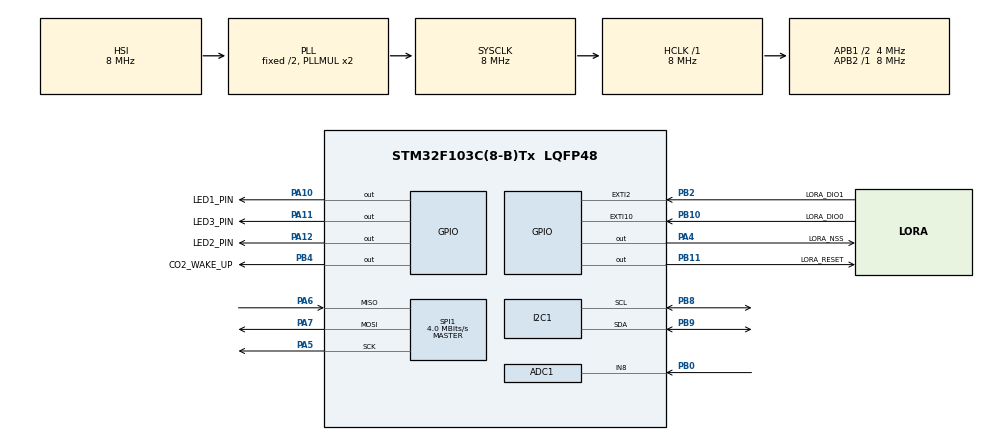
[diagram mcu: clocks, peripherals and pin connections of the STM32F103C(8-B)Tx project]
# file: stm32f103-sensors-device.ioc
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ADC1.Channel-4\#ChannelRegularConversion=ADC_CHANNEL_8
ADC1.NbrOfConversionFlag=1
ADC1.Rank-4\#ChannelRegularConversion=1
ADC1.SamplingTime-4\#ChannelRegularConversion=ADC_SAMPLETIME_55CYCLES_5
ADC1.master=1
I2C1.I2C_Mode=I2C_Standard
Mcu.Family=STM32F1
Mcu.Name=STM32F103C(8-B)Tx
Mcu.Package=LQFP48
NVIC.EXTI15_10_IRQn=true\:0\:0\:false\:false\:true\:true\:true
NVIC.EXTI2_IRQn=true\:0\:0\:false\:false\:true\:true\:true
NVIC.I2C1_ER_IRQn=true\:0\:0\:false\:false\:true\:true\:true
NVIC.I2C1_EV_IRQn=true\:0\:0\:false\:false\:true\:true\:true
NVIC.PriorityGroup=NVIC_PRIORITYGROUP_4
NVIC.SPI1_IRQn=true\:0\:0\:false\:false\:true\:true\:true
NVIC.TIM4_IRQn=true\:0\:0\:false\:false\:true\:true\:true
PA10.GPIO_Label=LED1_PIN
PA10.Signal=GPIO_Output
PA11.GPIO_Label=LED3_PIN
PA11.Signal=GPIO_Output
PA12.GPIO_Label=LED2_PIN
PA12.Signal=GPIO_Output
PA13.Mode=Serial_Wire
PA13.Signal=SYS_JTMS-SWDIO
PA14.Mode=Serial_Wire
PA14.Signal=SYS_JTCK-SWCLK
PA4.GPIO_Label=LORA_NSS
PA4.Signal=GPIO_Output
PA5.Mode=Full_Duplex_Master
PA5.Signal=SPI1_SCK
PA6.Mode=Full_Duplex_Master
PA6.Signal=SPI1_MISO
PA7.Mode=Full_Duplex_Master
PA7.Signal=SPI1_MOSI
PB0.Signal=ADCx_IN8
PB10.GPIO_Label=LORA_DIO0
PB10.GPIO_PuPd=GPIO_PULLDOWN
PB10.Signal=GPXTI10
PB11.GPIO_Label=LORA_RESET
PB11.Signal=GPIO_Output
PB2.GPIO_Label=LORA_DIO1
PB2.GPIO_PuPd=GPIO_PULLDOWN
PB2.Signal=GPXTI2
PB4.GPIO_Label=CO2_WAKE_UP
PB4.Signal=GPIO_Output
PB8.Mode=I2C
PB8.Signal=I2C1_SCL
PB9.Mode=I2C
PB9.Signal=I2C1_SDA
ProjectManager.HeapSize=0x200
ProjectManager.StackSize=0x400
ProjectManager.TargetToolchain=STM32CubeIDE
RCC.AHBFreq_Value=8000000
RCC.APB1CLKDivider=RCC_HCLK_DIV2
RCC.APB1Freq_Value=4000000
RCC.APB1TimFreq_Value=8000000
RCC.APB2Freq_Value=8000000
RCC.APB2TimFreq_Value=8000000
RCC.HCLKFreq_Value=8000000
RCC.SYSCLKFreq_VALUE=8000000
RCC.SYSCLKSource=RCC_SYSCLKSOURCE_PLLCLK
RCC.USBFreq_Value=8000000
SH.ADCx_IN8.0=ADC1_IN8,IN8
SPI1.BaudRatePrescaler=SPI_BAUDRATEPRESCALER_2
SPI1.CalculateBaudRate=4.0 MBits/s
SPI1.Direction=SPI_DIRECTION_2LINES
SPI1.Mode=SPI_MODE_MASTER
SPI1.VirtualType=VM_MASTER
TIM2.Prescaler=72
TIM4.Period=49999
TIM4.Prescaler=7999
VP_TIM2_VS_ClockSourceINT.Mode=Internal
VP_TIM4_VS_ClockSourceINT.Mode=Internal
VP_TIM4_VS_OPM.Mode=OPM_bit
board=custom

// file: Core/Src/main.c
/* USER CODE BEGIN Header */
/**
  ******************************************************************************
  * @file           : main.c
  * @brief          : Main program body
  ******************************************************************************
  * @attention
  *
  * <h2><center>&copy; Copyright (c) 2020 STMicroelectronics.
  * All rights reserved.</center></h2>
  *
  * This software component is licensed by ST under BSD 3-Clause license,
  * the "License"; You may not use this file except in compliance with the
  * License. You may obtain a copy of the License at:
  *                        opensource.org/licenses/BSD-3-Clause
  *
  ******************************************************************************
  */
/* USER CODE END Header */
#include "main.h"

/* USER CODE BEGIN Includes */
#include <stdlib.h>
#include <string.h>
#include <Sensor_TSL2561.h>
#include <stdbool.h>
#include <math.h>
#include "Sensor_CCS811.h"
#include <bme280.h>
#include "../LoRa_main_cpp/LoRa_main_file.h"
#include <FlashPROM.h>
//#include <LoRa_contact_data.h>
/* USER CODE END Includes */

/* USER CODE BEGIN PD */
#define BAND	43325E4
//#define BAND	43455E4

//#define _TSL2561
#define _BME280
//#define	_CCS811
//#define _WATER_TEMP
/* USER CODE END PD */

ADC_HandleTypeDef hadc1;

I2C_HandleTypeDef hi2c1;

SPI_HandleTypeDef hspi1;

TIM_HandleTypeDef htim2;
TIM_HandleTypeDef htim4;

/* USER CODE BEGIN PV */

												// TSL2561
uint8_t STADY_CONACT_NUMBER = 0;

SensorsDataTypeDef sensors_data;

uint8_t LoRa_begin_result;

// If gain = false (0), device is set to low gain (1X)
// If gain = high (1), device is set to high gain (16X)
// If time = 0, integration will be 13.7ms
// If time = 1, integration will be 101ms
// If time = 2, integration will be 402ms
// If time = 3, use manual start / stop (ms = 0)
// ms will be set to integration time
bool gain = 0;
unsigned  int ms = 0;
int8_t user_i2c_write(uint8_t id, uint8_t reg_addr, uint8_t *data, uint16_t len);
int8_t user_i2c_read(uint8_t id, uint8_t reg_addr, uint8_t *data, uint16_t len);
void user_delay_ms(uint32_t period);
												// TSL2561
struct bme280_dev dev = {.dev_id = BME280_I2C_ADDR_SEC, .intf = BME280_I2C_INTF, .read = user_i2c_read, .write = user_i2c_write, .delay_ms = user_delay_ms};
struct bme280_offset offset = {.humidity_offset = 5.0, .pressure_offset = 0.0, .temperature_offset = 0.0 };
struct bme280_data comp_data;

uint8_t tim4 = 0;

int8_t rslt;

uint16_t exti5_10, exti2;
uint16_t cnt_task_1, cnt_task_2, cnt_task_3;

uint16_t water_temp = 0;

volatile bool end_contact = false;

uint32_t control_module_id_and_channel[BUFFSIZE] = {0x00000000, 0x00000000};

//buf32_t control_module_id;
/* USER CODE END PV */

void SystemClock_Config(void);
static void MX_GPIO_Init(void);
static void MX_I2C1_Init(void);
static void MX_SPI1_Init(void);
static void MX_TIM2_Init(void);
static void MX_ADC1_Init(void);
static void MX_TIM4_Init(void);
/* USER CODE BEGIN PFP */
void LoRa_sleep();
void SensorsGetValues();
void Main_cpp(SensorsDataTypeDef* sensors_data);
void Contact_group_control_module();
bool Init_lora_module(SPI_HandleTypeDef *spi);
void Send_registration_packet();
void Get_control_module_info_from_main(uint32_t* id_main);
uint8_t LoRa_begin(uint64_t frequency, bool paboost, uint8_t signal_power, uint8_t SF, uint64_t SBW, uint8_t sync_word);
uint8_t Begin_lora_module(uint64_t frequency, bool paboost, uint8_t signal_power, uint8_t SF, uint64_t SBW, uint8_t sync_word);
/* USER CODE END PFP */

/* USER CODE BEGIN 0 */
int8_t user_i2c_read(uint8_t id, uint8_t reg_addr, uint8_t *data, uint16_t len)
{
  if(HAL_I2C_Master_Transmit(&hi2c1, (id << 1), &reg_addr, 1, 10) != HAL_OK) return -1;
  if(HAL_I2C_Master_Receive(&hi2c1, (id << 1) | 0x01, data, len, 10) != HAL_OK) return -1;
  return 0;
}

void user_delay_ms(uint32_t period)
{
  HAL_Delay(period);
}

int8_t user_i2c_write(uint8_t id, uint8_t reg_addr, uint8_t *data, uint16_t len)
{
  int8_t *buf;
  buf = malloc(len +1);
  buf[0] = reg_addr;
  memcpy(buf +1, data, len);
  if(HAL_I2C_Master_Transmit(&hi2c1, (id << 1), (uint8_t*)buf, len + 1, HAL_MAX_DELAY) != HAL_OK) return -1;
  free(buf);
  return 0;
}

void HAL_TIM_PeriodElapsedCallback(TIM_HandleTypeDef *htim)
{
	if(htim->Instance == TIM4) //check if the interrupt comes from TIM1
	{
		//HAL_ResumeTick();
		//HAL_GPIO_TogglePin(LED1_PIN_GPIO_Port, LED1_PIN_Pin);
		tim4++;
		// if end_contact
//			SensorsGetValues();
//			Main_cpp(&sensors_data);
			// wake up
		//HAL_Delay(2000);

	}
}
/* USER CODE END 0 */

int main(void)
{
  /* USER CODE BEGIN 1 */

  Read_control_module_info_from_flash(control_module_id_and_channel);
  Get_control_module_info_from_main(control_module_id_and_channel);
  /* USER CODE END 1 */

  /* MCU Configuration--------------------------------------------------------*/

  /* Reset of all peripherals, Initializes the Flash interface and the Systick. */
  HAL_Init();

  /* Configure the system clock */
  SystemClock_Config();

  /* Initialize all configured peripherals */
  MX_GPIO_Init();
  MX_I2C1_Init();
  MX_SPI1_Init();
  MX_TIM2_Init();
  MX_ADC1_Init();
  MX_TIM4_Init();
  /* USER CODE BEGIN 2 */
  Init_lora_module(&hspi1);
  LoRa_begin_result = Begin_lora_module(BAND, true, 14, 8, 250E3, 0x4A);
  //LoRa_begin_result = LoRa_begin(BAND, true, 14, 11, 125E3, 0x4A)
  if(LoRa_begin_result == 0) {
	  for (int i = 0; i < 5; ++i) {
		  HAL_GPIO_TogglePin(LED1_PIN_GPIO_Port, LED1_PIN_Pin);
		  HAL_GPIO_TogglePin(LED2_PIN_GPIO_Port, LED2_PIN_Pin);
		  HAL_GPIO_TogglePin(LED3_PIN_GPIO_Port, LED3_PIN_Pin);
		  HAL_Delay(500);
	  }
	  while(LoRa_begin_result != 0) {
		  LoRa_begin_result = Begin_lora_module(BAND, true, 14, 8, 250E3, 0x4A);
			  HAL_GPIO_WritePin(LED1_PIN_GPIO_Port, LED1_PIN_Pin, GPIO_PIN_SET);
			  HAL_GPIO_WritePin(LED2_PIN_GPIO_Port, LED2_PIN_Pin, GPIO_PIN_RESET);
			  HAL_GPIO_WritePin(LED3_PIN_GPIO_Port, LED3_PIN_Pin, GPIO_PIN_RESET);
	  }
  }
  HAL_GPIO_WritePin(LED1_PIN_GPIO_Port, LED1_PIN_Pin, GPIO_PIN_RESET);
  HAL_GPIO_WritePin(LED2_PIN_GPIO_Port, LED2_PIN_Pin, GPIO_PIN_RESET);
  HAL_GPIO_WritePin(LED3_PIN_GPIO_Port, LED3_PIN_Pin, GPIO_PIN_RESET);
#ifdef _TSL2561
  unsigned  char time = 2;
  TSL2561_setTiming_ms (gain, time, & ms);
  TSL2561_setPowerUp ();
#endif

#ifdef _BME280
  rslt = bme280_init(&dev);

  dev.settings.osr_h = BME280_OVERSAMPLING_1X;
  dev.settings.osr_p = BME280_OVERSAMPLING_16X;
  dev.settings.osr_t = BME280_OVERSAMPLING_2X;
  dev.settings.filter = BME280_FILTER_COEFF_16;
  rslt = bme280_set_sensor_settings(BME280_OSR_PRESS_SEL | BME280_OSR_TEMP_SEL | BME280_OSR_HUM_SEL | BME280_FILTER_SEL, &dev);
  rslt = bme280_set_sensor_mode(BME280_NORMAL_MODE, &dev);
  //bme280_compensate_data(BME280_OSR_HUM_SEL, uncomp_data, comp_data, calib_data)
#endif

#ifdef _CCS811
  configureCCS811();
#endif
  HAL_ADCEx_Calibration_Start(&hadc1);
  HAL_Delay(1000);
  //HAL_TIM_Base_Start_IT(&htim4);
  //HAL_PWR_EnableSleepOnExit();
  //end_contact = true;
  SensorsGetValues();
  Main_cpp(&sensors_data);
  /* USER CODE END 2 */

  /* Infinite loop */
  while (1)
  {

    /* USER CODE BEGIN 3 */

	if (end_contact) {
		end_contact = false;
		HAL_Delay(100);
		HAL_TIM_Base_Start_IT(&htim4);
		HAL_Delay(100);
		LoRa_sleep();
		HAL_SuspendTick();
		HAL_PWR_EnterSLEEPMode(PWR_LOWPOWERREGULATOR_ON, PWR_SLEEPENTRY_WFI);
		HAL_ResumeTick();
		HAL_TIM_Base_Stop_IT(&htim4);
		SensorsGetValues();
		Main_cpp(&sensors_data);
	}
  }
  /* USER CODE END 3 */
}

void SystemClock_Config(void)
{
  RCC_OscInitTypeDef RCC_OscInitStruct = {0};
  RCC_ClkInitTypeDef RCC_ClkInitStruct = {0};
  RCC_PeriphCLKInitTypeDef PeriphClkInit = {0};

  /** Initializes the RCC Oscillators according to the specified parameters
  * in the RCC_OscInitTypeDef structure.
  */
  RCC_OscInitStruct.OscillatorType = RCC_OSCILLATORTYPE_HSI;
  RCC_OscInitStruct.HSIState = RCC_HSI_ON;
  RCC_OscInitStruct.HSICalibrationValue = RCC_HSICALIBRATION_DEFAULT;
  RCC_OscInitStruct.PLL.PLLState = RCC_PLL_ON;
  RCC_OscInitStruct.PLL.PLLSource = RCC_PLLSOURCE_HSI_DIV2;
  RCC_OscInitStruct.PLL.PLLMUL = RCC_PLL_MUL2;
  if (HAL_RCC_OscConfig(&RCC_OscInitStruct) != HAL_OK)
  {
    Error_Handler();
  }
  /** Initializes the CPU, AHB and APB buses clocks
  */
  RCC_ClkInitStruct.ClockType = RCC_CLOCKTYPE_HCLK|RCC_CLOCKTYPE_SYSCLK
                              |RCC_CLOCKTYPE_PCLK1|RCC_CLOCKTYPE_PCLK2;
  RCC_ClkInitStruct.SYSCLKSource = RCC_SYSCLKSOURCE_PLLCLK;
  RCC_ClkInitStruct.AHBCLKDivider = RCC_SYSCLK_DIV1;
  RCC_ClkInitStruct.APB1CLKDivider = RCC_HCLK_DIV2;
  RCC_ClkInitStruct.APB2CLKDivider = RCC_HCLK_DIV1;

  if (HAL_RCC_ClockConfig(&RCC_ClkInitStruct, FLASH_LATENCY_0) != HAL_OK)
  {
    Error_Handler();
  }
  PeriphClkInit.PeriphClockSelection = RCC_PERIPHCLK_ADC;
  PeriphClkInit.AdcClockSelection = RCC_ADCPCLK2_DIV2;
  if (HAL_RCCEx_PeriphCLKConfig(&PeriphClkInit) != HAL_OK)
  {
    Error_Handler();
  }
}

static void MX_ADC1_Init(void)
{

  ADC_ChannelConfTypeDef sConfig = {0};

  /** Common config
  */
  hadc1.Instance = ADC1;
  hadc1.Init.ScanConvMode = ADC_SCAN_DISABLE;
  hadc1.Init.ContinuousConvMode = DISABLE;
  hadc1.Init.DiscontinuousConvMode = DISABLE;
  hadc1.Init.ExternalTrigConv = ADC_SOFTWARE_START;
  hadc1.Init.DataAlign = ADC_DATAALIGN_RIGHT;
  hadc1.Init.NbrOfConversion = 1;
  if (HAL_ADC_Init(&hadc1) != HAL_OK)
  {
    Error_Handler();
  }
  /** Configure Regular Channel
  */
  sConfig.Channel = ADC_CHANNEL_8;
  sConfig.Rank = ADC_REGULAR_RANK_1;
  sConfig.SamplingTime = ADC_SAMPLETIME_55CYCLES_5;
  if (HAL_ADC_ConfigChannel(&hadc1, &sConfig) != HAL_OK)
  {
    Error_Handler();
  }

}

static void MX_I2C1_Init(void)
{

  hi2c1.Instance = I2C1;
  hi2c1.Init.ClockSpeed = 100000;
  hi2c1.Init.DutyCycle = I2C_DUTYCYCLE_2;
  hi2c1.Init.OwnAddress1 = 0;
  hi2c1.Init.AddressingMode = I2C_ADDRESSINGMODE_7BIT;
  hi2c1.Init.DualAddressMode = I2C_DUALADDRESS_DISABLE;
  hi2c1.Init.OwnAddress2 = 0;
  hi2c1.Init.GeneralCallMode = I2C_GENERALCALL_DISABLE;
  hi2c1.Init.NoStretchMode = I2C_NOSTRETCH_DISABLE;
  if (HAL_I2C_Init(&hi2c1) != HAL_OK)
  {
    Error_Handler();
  }

}

static void MX_SPI1_Init(void)
{

  /* SPI1 parameter configuration*/
  hspi1.Instance = SPI1;
  hspi1.Init.Mode = SPI_MODE_MASTER;
  hspi1.Init.Direction = SPI_DIRECTION_2LINES;
  hspi1.Init.DataSize = SPI_DATASIZE_8BIT;
  hspi1.Init.CLKPolarity = SPI_POLARITY_LOW;
  hspi1.Init.CLKPhase = SPI_PHASE_1EDGE;
  hspi1.Init.NSS = SPI_NSS_SOFT;
  hspi1.Init.BaudRatePrescaler = SPI_BAUDRATEPRESCALER_2;
  hspi1.Init.FirstBit = SPI_FIRSTBIT_MSB;
  hspi1.Init.TIMode = SPI_TIMODE_DISABLE;
  hspi1.Init.CRCCalculation = SPI_CRCCALCULATION_DISABLE;
  hspi1.Init.CRCPolynomial = 10;
  if (HAL_SPI_Init(&hspi1) != HAL_OK)
  {
    Error_Handler();
  }

}

static void MX_TIM2_Init(void)
{

  TIM_ClockConfigTypeDef sClockSourceConfig = {0};
  TIM_MasterConfigTypeDef sMasterConfig = {0};

  htim2.Instance = TIM2;
  htim2.Init.Prescaler = 72;
  htim2.Init.CounterMode = TIM_COUNTERMODE_UP;
  htim2.Init.Period = 65535;
  htim2.Init.ClockDivision = TIM_CLOCKDIVISION_DIV1;
  htim2.Init.AutoReloadPreload = TIM_AUTORELOAD_PRELOAD_DISABLE;
  if (HAL_TIM_Base_Init(&htim2) != HAL_OK)
  {
    Error_Handler();
  }
  sClockSourceConfig.ClockSource = TIM_CLOCKSOURCE_INTERNAL;
  if (HAL_TIM_ConfigClockSource(&htim2, &sClockSourceConfig) != HAL_OK)
  {
    Error_Handler();
  }
  sMasterConfig.MasterOutputTrigger = TIM_TRGO_RESET;
  sMasterConfig.MasterSlaveMode = TIM_MASTERSLAVEMODE_DISABLE;
  if (HAL_TIMEx_MasterConfigSynchronization(&htim2, &sMasterConfig) != HAL_OK)
  {
    Error_Handler();
  }

}

static void MX_TIM4_Init(void)
{

  TIM_ClockConfigTypeDef sClockSourceConfig = {0};
  TIM_MasterConfigTypeDef sMasterConfig = {0};

  htim4.Instance = TIM4;
  htim4.Init.Prescaler = 7999;
  htim4.Init.CounterMode = TIM_COUNTERMODE_UP;
  htim4.Init.Period = 55999;
  htim4.Init.ClockDivision = TIM_CLOCKDIVISION_DIV1;
  htim4.Init.AutoReloadPreload = TIM_AUTORELOAD_PRELOAD_DISABLE;
  if (HAL_TIM_Base_Init(&htim4) != HAL_OK)
  {
    Error_Handler();
  }
  sClockSourceConfig.ClockSource = TIM_CLOCKSOURCE_INTERNAL;
  if (HAL_TIM_ConfigClockSource(&htim4, &sClockSourceConfig) != HAL_OK)
  {
    Error_Handler();
  }
  if (HAL_TIM_OnePulse_Init(&htim4, TIM_OPMODE_SINGLE) != HAL_OK)
  {
    Error_Handler();
  }
  sMasterConfig.MasterOutputTrigger = TIM_TRGO_RESET;
  sMasterConfig.MasterSlaveMode = TIM_MASTERSLAVEMODE_DISABLE;
  if (HAL_TIMEx_MasterConfigSynchronization(&htim4, &sMasterConfig) != HAL_OK)
  {
    Error_Handler();
  }

}

static void MX_GPIO_Init(void)
{
  GPIO_InitTypeDef GPIO_InitStruct = {0};

  /* GPIO Ports Clock Enable */
  __HAL_RCC_GPIOA_CLK_ENABLE();
  __HAL_RCC_GPIOB_CLK_ENABLE();

  /*Configure GPIO pin Output Level */
  HAL_GPIO_WritePin(GPIOA, LORA_NSS_Pin|LED1_PIN_Pin|LED3_PIN_Pin|LED2_PIN_Pin, GPIO_PIN_RESET);

  /*Configure GPIO pin Output Level */
  HAL_GPIO_WritePin(GPIOB, LORA_RESET_Pin|CO2_WAKE_UP_Pin, GPIO_PIN_RESET);

  /*Configure GPIO pins : LORA_NSS_Pin LED1_PIN_Pin LED3_PIN_Pin LED2_PIN_Pin */
  GPIO_InitStruct.Pin = LORA_NSS_Pin|LED1_PIN_Pin|LED3_PIN_Pin|LED2_PIN_Pin;
  GPIO_InitStruct.Mode = GPIO_MODE_OUTPUT_PP;
  GPIO_InitStruct.Pull = GPIO_NOPULL;
  GPIO_InitStruct.Speed = GPIO_SPEED_FREQ_LOW;
  HAL_GPIO_Init(GPIOA, &GPIO_InitStruct);

  /*Configure GPIO pins : LORA_DIO1_Pin LORA_DIO0_Pin */
  GPIO_InitStruct.Pin = LORA_DIO1_Pin|LORA_DIO0_Pin;
  GPIO_InitStruct.Mode = GPIO_MODE_IT_RISING;
  GPIO_InitStruct.Pull = GPIO_PULLDOWN;
  HAL_GPIO_Init(GPIOB, &GPIO_InitStruct);

  /*Configure GPIO pins : LORA_RESET_Pin CO2_WAKE_UP_Pin */
  GPIO_InitStruct.Pin = LORA_RESET_Pin|CO2_WAKE_UP_Pin;
  GPIO_InitStruct.Mode = GPIO_MODE_OUTPUT_PP;
  GPIO_InitStruct.Pull = GPIO_NOPULL;
  GPIO_InitStruct.Speed = GPIO_SPEED_FREQ_LOW;
  HAL_GPIO_Init(GPIOB, &GPIO_InitStruct);

  /* EXTI interrupt init*/
  HAL_NVIC_SetPriority(EXTI2_IRQn, 0, 0);
  HAL_NVIC_EnableIRQ(EXTI2_IRQn);

  HAL_NVIC_SetPriority(EXTI15_10_IRQn, 0, 0);
  HAL_NVIC_EnableIRQ(EXTI15_10_IRQn);

}

/* USER CODE BEGIN 4 */
void HAL_GPIO_EXTI_Callback(uint16_t GPIO_Pin)
{
  if(GPIO_Pin== GPIO_PIN_2) {
    exti2++;
    //HAL_ResumeTick();
    Contact_group_control_module();
  } else if(GPIO_Pin== GPIO_PIN_10){
    exti5_10++;
    //HAL_ResumeTick();
    Contact_group_control_module();
  } else{
    __NOP();
  }
}

void SensorsGetValues() {
#ifdef _TSL2561
	unsigned int data0, data1;
	if (TSL2561_getData(&data0, &data1))
	{
		double lux;
		TSL2561_getLux(gain, ms, data0, data1, &lux);
		sensors_data.lux = lux;
		//lora_sensor_set_data(&illumination_sensor,(float)lux);
	}
#endif

#ifdef _BME280
	rslt = bme280_get_sensor_data(BME280_ALL, &comp_data, &dev);
	if(rslt == BME280_OK)
	{
		sensors_data.temperature = comp_data.temperature / 100.0;      /* C  */
		sensors_data.humidity = (comp_data.humidity / 1024.0) + offset.humidity_offset;           /* %   */
		sensors_data.pressure = comp_data.pressure / 10000.0 / 1.333;  /* hPa or mmhg */
	}
#endif

#ifdef _CCS811
	uint32_t CO2_tVOC_res = 0;

	CO2_tVOC_res = readAlgorithmResults();
	sensors_data.CO2 = (uint16_t)(CO2_tVOC_res >> 16);
	sensors_data.TVOC = (uint16_t)CO2_tVOC_res;
#endif

#ifdef _WATER_TEMP
	HAL_ADC_Start(&hadc1);
	HAL_ADC_PollForConversion(&hadc1, 100);
	water_temp = HAL_ADC_GetValue(&hadc1);
	sensors_data.water_temperature = water_temp;
	HAL_ADC_Stop(&hadc1);
#endif
}

/* USER CODE END 4 */

void Error_Handler(void)
{
  __disable_irq();
  while (1)
  {
  }
}

/************************ (C) COPYRIGHT STMicroelectronics *****END OF FILE****/
